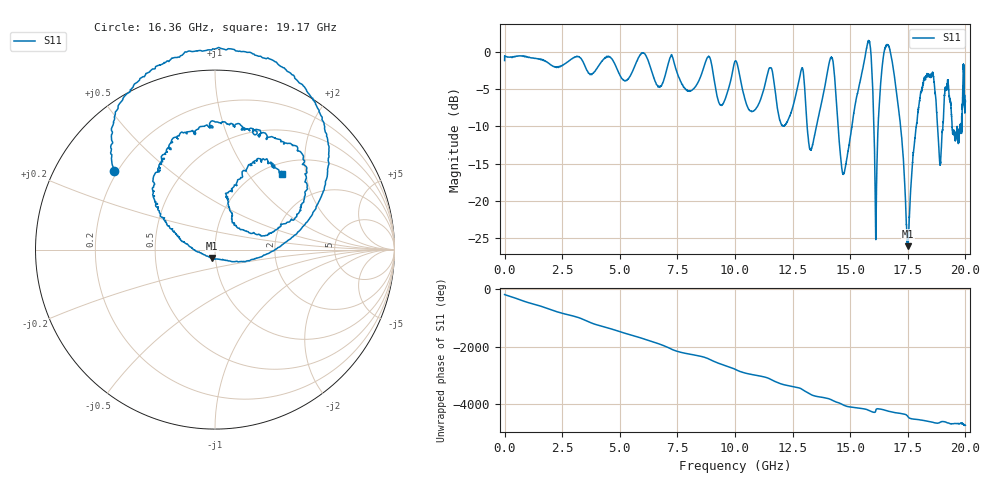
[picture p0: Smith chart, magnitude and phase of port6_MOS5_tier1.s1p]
! Created with skrf 1.8.0 (http://scikit-rf.org).
# GHz S RI R 50.0
!freq ReS11 ImS11
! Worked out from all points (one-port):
!   10001 points, 1 MHz to 20 GHz, reference 50 ohm
!   lowest |S11| = -26.1 dB at 17.5 GHz (marker M1), VSWR 1.10, Z = 48 - j4.45 ohm
!   |S11| at or under -10 dB: 13.13 GHz to 13.53 GHz (401.6 MHz wide, 3.01 % of centre); 14.48 GHz to 15.07 GHz (598.4 MHz wide, 4.05 % of centre); 17.19 GHz to 17.87 GHz (681.8 MHz wide, 3.89 % of centre) (the widest 3 of 14)
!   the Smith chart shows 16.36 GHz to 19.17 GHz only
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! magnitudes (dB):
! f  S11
! 1 MHz  -1.1
! 2.501 GHz  -1.8
! 5.001 GHz  -3.1
! 7.501 GHz  -2.9
! 8.867 GHz  -0.6
! 9.413 GHz  -7.2
! 10 GHz  -1.2
! 10.66 GHz  -7.9
! 11.53 GHz  -2.1
! 12.02 GHz  -9.8
! 12.5 GHz  -7.5
! 12.92 GHz  -2.1
! 13.32 GHz  -13.0
! 14.18 GHz  -0.7
! 14.66 GHz  -16.2
! 15 GHz  -11.5
! 15.8 GHz  1.5
! 16.13 GHz  -19.7
! 16.38 GHz  -2.2
! 16.66 GHz  0.9
! 17.5 GHz  -26.0
! 17.5 GHz  -26.1
! 18.25 GHz  -3.4
! 18.61 GHz  -3.1
! 18.9 GHz  -15.0
! 19.18 GHz  -5.1
! 19.63 GHz  -10.3
! 20 GHz  -6.7
